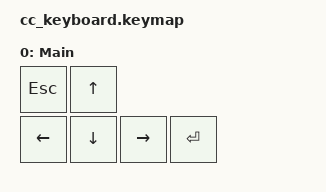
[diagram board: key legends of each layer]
/*
 * CC-Keyboard 键位映射
 *
 * bindings 顺序 = overlay 中 input-gpios 的顺序（ESC ↑ ← ↓ → ⏎）。
 * 想加层（比如长按 ESC 切到媒体层）参考：
 * https://zmk.dev/docs/keymaps/behaviors/layers
 */

#include <dt-bindings/zmk/keys.h>
#include <behaviors.dtsi>

/ {
    keymap {
        compatible = "zmk,keymap";

        default_layer {
            display-name = "Main";
            bindings = <
                &kp ESC     &kp UP
                &kp LEFT    &kp DOWN    &kp RIGHT   &kp ENTER
            >;
        };

        /* 示例：第二层（把下方层加进 bindings 后可用 &mo 1 切换）
        media_layer {
            display-name = "Media";
            bindings = <
                &trans      &kp C_VOL_UP
                &kp C_PREV  &kp C_VOL_DN  &kp C_NEXT  &kp C_PLAY_PAUSE
            >;
        };
        */
    };
};
